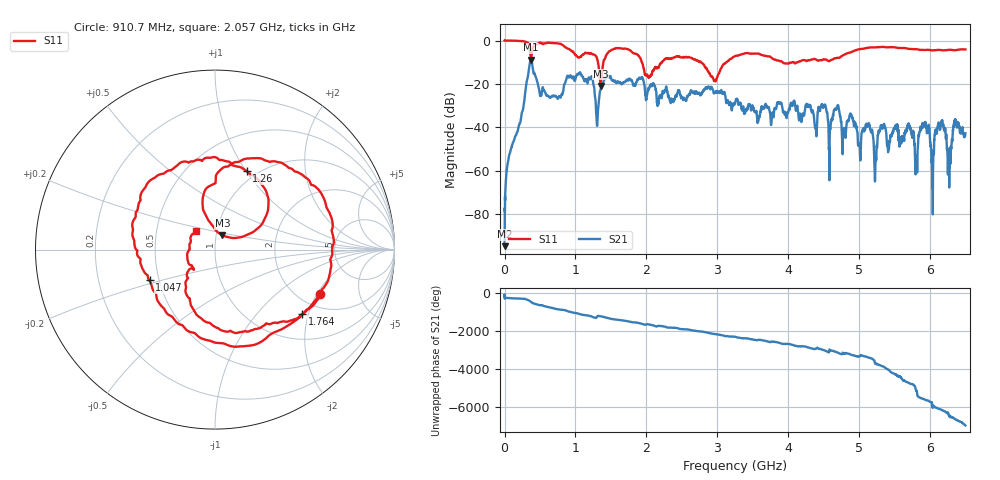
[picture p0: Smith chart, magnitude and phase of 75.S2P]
!Keysight Technologies,E5063A,MY54503115,A.05.08
!Date: Mon Dec 11 14:51:39 2023
!Data & Calibration Information:
!Freq	S11:NONE(--)	S21:NONE(--)	S12:NONE(--)	S22:NONE(--)
# Hz S dB R 50
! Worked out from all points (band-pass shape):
!   10001 points, 100 kHz to 6.5 GHz, reference 50 ohm
!   highest |S21| = -8.83 dB at 371.2 MHz (marker M1); lowest = -94.8 dB at 100 kHz (marker M2)
!   |S21| within 3 dB of the highest: 349.3 MHz to 393.5 MHz (44.21 MHz wide, 11.9 % of centre)
!   lowest |S11| = -20.9 dB at 1.353 GHz (marker M3), VSWR 1.20, Z = 53.6 + j8.61 ohm
!   |S11| at or under -10 dB: 1.936 GHz to 2.221 GHz (285 MHz wide, 13.7 % of centre); 2.771 GHz to 3.128 GHz (356.5 MHz wide, 12.1 % of centre); 3.92 GHz to 4.056 GHz (136.1 MHz wide, 3.41 % of centre) (the widest 3 of 7)
!   S12 and S22 are empty: the file has one direction only
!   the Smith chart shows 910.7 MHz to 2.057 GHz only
!   S11 on the Smith chart (normalised r, x): 910.7 MHz: 2.54, -2.14; 1.047 GHz: 0.44, -0.18; 1.26 GHz: 0.89, +1.01; 1.764 GHz: 1.61, -1.83; 2.057 GHz: 0.79, +0.17
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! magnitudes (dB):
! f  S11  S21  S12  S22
! 100 kHz  0.1  -94.8  -  -
! 371.2 MHz  -8.5  -8.8  -  -
! 622.8 MHz  -1.0  -25.8  -  -
! 910.7 MHz  -3.9  -17.0  -  -
! 1.047 GHz  -7.9  -15.3  -  -
! 1.084 GHz  -7.1  -16.2  -  -
! 1.26 GHz  -6.5  -21.2  -  -
! 1.353 GHz  -20.9  -22.6  -  -
! 1.764 GHz  -4.4  -17.6  -  -
! 2.057 GHz  -16.5  -21.0  -  -
! 2.167 GHz  -12.3  -29.4  -  -
! 3.25 GHz  -7.2  -28.8  -  -
! 4.334 GHz  -8.7  -33.0  -  -
! 5.417 GHz  -3.1  -48.8  -  -
! 5.702 GHz  -3.9  -39.3  -  -
! 5.809 GHz  -4.0  -56.2  -  -
! 5.919 GHz  -4.3  -39.0  -  -
! 6.032 GHz  -4.5  -64.9  -  -
! 6.147 GHz  -4.3  -40.2  -  -
! 6.271 GHz  -4.3  -62.4  -  -
! 6.357 GHz  -4.4  -36.6  -  -
! 6.5 GHz  -4.1  -42.8  -  -
